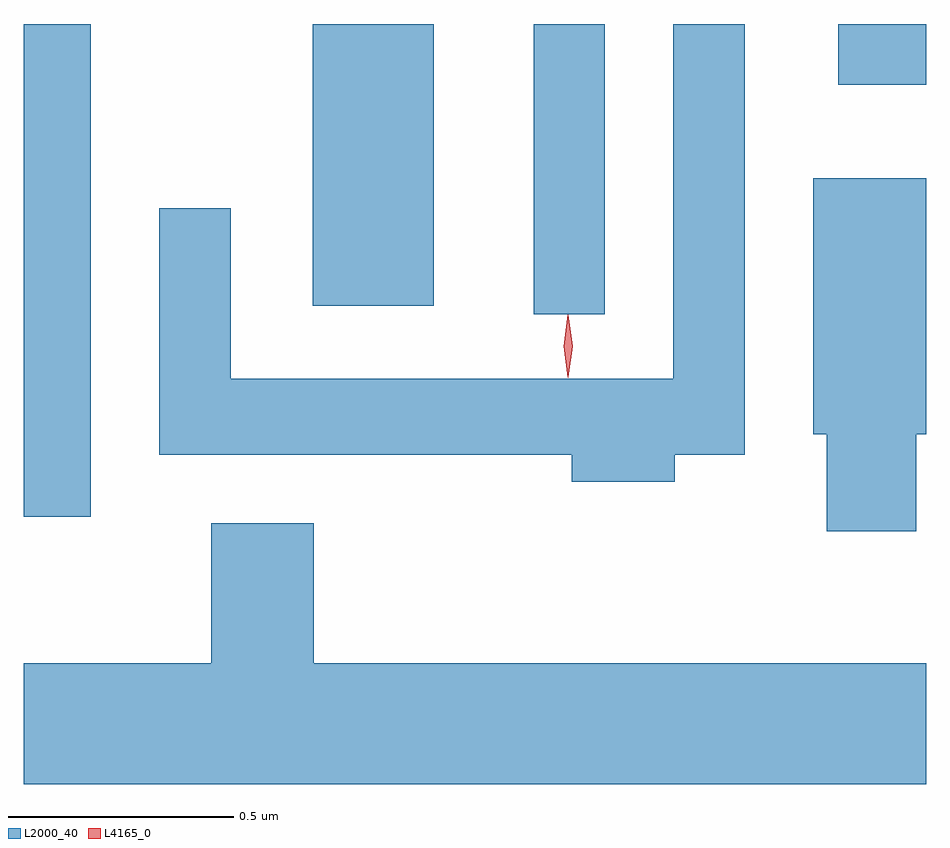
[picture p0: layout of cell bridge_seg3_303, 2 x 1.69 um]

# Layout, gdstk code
import gdstk
lib = gdstk.Library(unit=1e-6, precision=1e-09)
def R(c, l, rs):  # rectangles x0, y0, x1, y1
    for r in rs: c.add(gdstk.rectangle(r[:2], r[2:], *l))
def P(c, l, *ps):  # polygons
    for p in ps: c.add(gdstk.Polygon(p, *l))
L2000_40 = (2000, 40)
L4165_0 = (4165, 0)

bridge_seg3_303 = lib.new_cell('bridge_seg3_303')
R(bridge_seg3_303, L2000_40, [(1015.306,1126.608,1015.454,1127.701), (1016.436,1127.058,1016.594,1127.701), (1015.946,1127.076,1016.214,1127.701), (1017.111,1127.566,1017.306,1127.701)])
P(bridge_seg3_303, L2000_40, [(1016.749,1126.746),(1016.904,1126.746),(1016.904,1127.701),(1016.746,1127.701),(1016.746,1126.914),(1015.764,1126.914),(1015.764,1127.293),(1015.606,1127.293),(1015.606,1126.746),(1016.521,1126.746),(1016.521,1126.686),(1016.749,1126.686)],
  [(1017.284,1126.791),(1017.306,1126.791),(1017.306,1127.359),(1017.056,1127.359),(1017.056,1126.791),(1017.086,1126.791),(1017.086,1126.576),(1017.284,1126.576)],
  [(1017.306,1126.284),(1015.949,1126.284),(1015.949,1126.594),(1015.721,1126.594),(1015.721,1126.284),(1015.306,1126.284),(1015.306,1126.016),(1017.306,1126.016)])
P(bridge_seg3_303, L4165_0, [(1016.513,1126.917),(1016.512,1126.918),(1016.503,1126.987),(1016.512,1127.056),(1016.513,1127.056),(1016.513,1127.056),(1016.523,1126.987),(1016.513,1126.918)])

lib.write_gds('bridge_seg3_303.gds')
